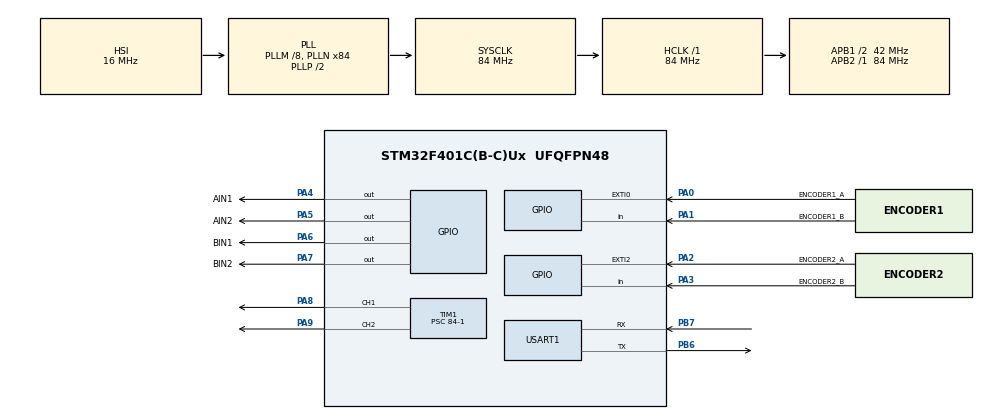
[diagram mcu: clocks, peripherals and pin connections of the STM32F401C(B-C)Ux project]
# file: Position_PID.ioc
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Mcu.Family=STM32F4
Mcu.Name=STM32F401C(B-C)Ux
Mcu.Package=UFQFPN48
NVIC.EXTI0_IRQn=true\:0\:0\:false\:false\:true\:true\:true\:true
NVIC.EXTI2_IRQn=true\:0\:0\:false\:false\:true\:true\:true\:true
NVIC.PriorityGroup=NVIC_PRIORITYGROUP_4
PA0-WKUP.GPIO_Label=ENCODER1_A
PA0-WKUP.GPIO_PuPd=GPIO_PULLDOWN
PA0-WKUP.Signal=GPXTI0
PA1.GPIO_Label=ENCODER1_B
PA1.GPIO_PuPd=GPIO_PULLDOWN
PA1.Signal=GPIO_Input
PA2.GPIO_Label=ENCODER2_A
PA2.GPIO_PuPd=GPIO_PULLDOWN
PA2.Signal=GPXTI2
PA3.GPIO_Label=ENCODER2_B
PA3.GPIO_PuPd=GPIO_PULLDOWN
PA3.Signal=GPIO_Input
PA4.GPIO_Label=AIN1
PA4.Signal=GPIO_Output
PA5.GPIO_Label=AIN2
PA5.Signal=GPIO_Output
PA6.GPIO_Label=BIN1
PA6.Signal=GPIO_Output
PA7.GPIO_Label=BIN2
PA7.Signal=GPIO_Output
PA8.Signal=S_TIM1_CH1
PA9.Signal=S_TIM1_CH2
PB6.Mode=Asynchronous
PB6.Signal=USART1_TX
PB7.Mode=Asynchronous
PB7.Signal=USART1_RX
ProjectManager.HeapSize=0x200
ProjectManager.StackSize=0x400
ProjectManager.TargetToolchain=STM32CubeIDE
RCC.48MHZClocksFreq_Value=42000000
RCC.AHBFreq_Value=84000000
RCC.APB1CLKDivider=RCC_HCLK_DIV2
RCC.APB1Freq_Value=42000000
RCC.APB1TimFreq_Value=84000000
RCC.APB2Freq_Value=84000000
RCC.APB2TimFreq_Value=84000000
RCC.CortexFreq_Value=84000000
RCC.HCLKFreq_Value=84000000
RCC.HSE_VALUE=25000000
RCC.HSI_VALUE=16000000
RCC.LSE_VALUE=32768
RCC.PLLM=8
RCC.PLLN=84
RCC.SYSCLKFreq_VALUE=84000000
RCC.SYSCLKSource=RCC_SYSCLKSOURCE_PLLCLK
RCC.VCOOutputFreq_Value=168000000
SH.S_TIM1_CH1.0=TIM1_CH1,PWM Generation1 CH1
SH.S_TIM1_CH2.0=TIM1_CH2,PWM Generation2 CH2
TIM1.AutoReloadPreload=TIM_AUTORELOAD_PRELOAD_ENABLE
TIM1.Channel-PWM\ Generation1\ CH1=TIM_CHANNEL_1
TIM1.Channel-PWM\ Generation2\ CH2=TIM_CHANNEL_2
TIM1.Period=1000
TIM1.Prescaler=84-1
USART1.VirtualMode=VM_ASYNC
VP_TIM1_VS_ClockSourceINT.Mode=Internal
board=custom

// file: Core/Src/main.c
/* USER CODE BEGIN Header */
/**
  ******************************************************************************
  * @file           : main.c
  * @brief          : Main program body
  ******************************************************************************
  * @attention
  *
  * Copyright (c) 2023 STMicroelectronics.
  * All rights reserved.
  *
  * This software is licensed under terms that can be found in the LICENSE file
  * in the root directory of this software component.
  * If no LICENSE file comes with this software, it is provided AS-IS.
  *
  ******************************************************************************
  */
/* USER CODE END Header */
#include "main.h"
#include "tim.h"
#include "usart.h"
#include "gpio.h"

/* USER CODE BEGIN PD */
#define POS_R_DIR   1
#define NEG_R_DIR   0
#define POS_L_DIR   1
#define NEG_L_DIR   0

#define MAX_PWM     1000
#define MOTOR_MAX_VEL   333
#define SAMPLING_TIME_MIN    (1000 * 60)

#define PULSE_PER_CIRCLE  13000

#define R_MOTOR_NOR SET
#define R_MOTOR_REV !R_MOTOR_NOR

#define L_MOTOR_NOR RESET
#define L_MOTOR_REV !L_MOTOR_NOR

#define DEBUG
#define TAG "main"

#ifdef DEBUG
#define printf_t(format, ...) printf( format "\r\n", ##__VA_ARGS__)
#define info(format, ...) printf("[\t"TAG"]info:" format "\r\n", ##__VA_ARGS__)
#define debug(format, ...) printf("[\t"TAG"]debug:" format "\r\n", ##__VA_ARGS__)
#define error(format, ...) printf("[\t"TAG"]error:" format "\r\n",##__VA_ARGS__)
#else
#define printf(format, ...)
#define info(format, ...)
#define debug(format, ...)
#define error(format, ...)
#endif
/* USER CODE END PD */

/* USER CODE BEGIN PV */
int64_t RMotorCount, LMotorCount;
double RVelocity, LVelocity;                         //Cycle per minute
double RVelBias, LVelBias;
double RTargetPos = 0.0, LTargetPos = 0.0;
double RTargetVel = 0.0, LTargetVel = 0.0;
int RDir = POS_R_DIR, LDir = POS_L_DIR;
GPIO_PinState RIN1 = RESET, RIN2 = SET, LIN1 = RESET, LIN2 = SET;
double posKp = 30.0, posKi = 0.9, posKd = 180.0;
int posKiThreshold = 300;
int biasThreshold = 15;                                     //New algorithm designed by me
double velKp=80.0, velKi=200.0;
double RPWM = 0, LPWM = 0;
/* USER CODE END PV */

void SystemClock_Config(void);

/* USER CODE BEGIN 0 */
/**
    * @breif    Start to computing the speeds of motors.
    * @note     None
    * @param    None
    * @retval   None
    */
void MotorSpeedCompute_Start() {
    HAL_TIM_Base_Start_IT(&htim1);
}

/**
    * @breif    Start to count the encoder.
    * @note     None
    * @param    None
    * @retval   None
    */
void Encoder_Start() {

}

/**
    * @breif    Start to generate PWM signals to control motors.
    * @note     None
    * @param    None
    * @retval   None
    */
void MotorPWM_Start() {
    HAL_TIM_PWM_Start(&htim1, TIM_CHANNEL_1);
    HAL_TIM_PWM_Start(&htim1, TIM_CHANNEL_2);
}

/**
    * @breif    Renew the gpio output of AIN1, AIN2, BIN1, BIN2.
    * @note     None
    * @param    None
    * @retval   None
    */
void Dirction_Renew(){
    static int lastRDir, lastLDir;
    if(RDir != lastRDir){
        HAL_GPIO_WritePin(AIN1_GPIO_Port, AIN1_Pin, !HAL_GPIO_ReadPin(AIN1_GPIO_Port, AIN1_Pin));
        HAL_GPIO_WritePin(AIN2_GPIO_Port, AIN2_Pin, !HAL_GPIO_ReadPin(AIN2_GPIO_Port, AIN2_Pin));
    }
    if(LDir != lastLDir){
        HAL_GPIO_WritePin(BIN1_GPIO_Port, BIN1_Pin, !HAL_GPIO_ReadPin(BIN1_GPIO_Port, BIN1_Pin));
        HAL_GPIO_WritePin(BIN2_GPIO_Port, BIN2_Pin, !HAL_GPIO_ReadPin(BIN2_GPIO_Port, BIN2_Pin));
    }
    lastRDir = RDir;
    lastLDir = LDir;
}

/**
    * @breif    Use incremental PI algorithm to renew the PWM signals.
    * @note     None
    * @param    None
    * @retval   None
    */
void IncrementalPI(void) {
    static double RVelBias, LVelBias, LastRVelBias, LastLVelBias;
    RVelBias = RVelocity - RTargetVel;                //compute current bias
    LVelBias = LVelocity - LTargetVel;                //compute current bias
    RPWM -= velKp * (RVelBias - LastRVelBias) / 100 + velKi * RVelBias / 1000;        //incremental PI controller
    LPWM -= velKp * (LVelBias - LastLVelBias) / 100 + velKi * LVelBias / 1000;        //incremental PI controller
    if (RPWM < 0) { RPWM = 0.0; }
    if (LPWM < 0) { LPWM = 0.0; }
    if (RPWM - 1000.0 > 0) { RPWM = 1000.0; }
    if (LPWM - 1000.0 > 0) { LPWM = 1000.0; }
    LastRVelBias = RVelBias;                    //save last velocity bias
    LastLVelBias = LVelBias;                    //save last velocity bias
    __HAL_TIM_SET_COMPARE(&htim1, TIM_CHANNEL_1, RPWM);
    __HAL_TIM_SET_COMPARE(&htim1, TIM_CHANNEL_2, LPWM);                                 //Renew PWN
}

/**
    * @breif    Compute the absolute value of x.
    * @note     None
    * @param    x
    * @retval   None
    */
int AbsOf(int x){
    if(x < 0)   x = -x;

    return x;
}

/**
    * @breif    Use position PID algorithm to renew PWM signals.
    * @note     None
    * @param    None
    * @retval   None
    */
void Position_PID(void) {
    static int lastRPosBias, lastLPosBias, LPosBiasIntergral, RPosBiasIntergral;
    int RPosBias = RTargetPos - RMotorCount;                    //compute posBias
    int LPosBias = LTargetPos - LMotorCount;                    //compute posBias
    int biasOfRPosBias = AbsOf(RPosBias - lastRPosBias), biasOfLPosBias = AbsOf(LPosBias - lastLPosBias);
    if (biasOfRPosBias <= biasThreshold)                                     //New algorithm designed by me
        RPosBiasIntergral += RPosBias;                        //compute intergral of posBias
    if (LPosBias <= biasThreshold)                                     //New algorithm designed by me
        LPosBiasIntergral += LPosBias;                        //compute intergral of posBias
    RPWM = (posKp * RPosBias / 100.0 + posKi / 100 * RPosBiasIntergral + posKd / 100 * (RPosBias - lastRPosBias)) / MAX_PWM * MOTOR_MAX_VEL;
    LPWM = (posKp * LPosBias / 100.0 + posKi / 100 * LPosBiasIntergral + posKd / 100 * (LPosBias - lastLPosBias)) / MAX_PWM * MOTOR_MAX_VEL;
    lastRPosBias = RPosBias;                            //save posBias
    lastLPosBias = LPosBias;                            //save posBias
    if (RPWM < 0) {
        RDir = NEG_R_DIR;
        HAL_GPIO_WritePin(AIN1_GPIO_Port, AIN1_Pin, LIN1);
        HAL_GPIO_WritePin(AIN2_GPIO_Port, AIN2_Pin, LIN2);
        RPWM = -RPWM;
    }
    else{
        RDir = POS_L_DIR;
        HAL_GPIO_WritePin(AIN1_GPIO_Port, AIN1_Pin, LIN2);
        HAL_GPIO_WritePin(AIN2_GPIO_Port, AIN2_Pin, LIN1);
    }
    if (LPWM < 0) {
        LDir = NEG_L_DIR;
        HAL_GPIO_WritePin(BIN1_GPIO_Port, BIN1_Pin, LIN1);
        HAL_GPIO_WritePin(BIN2_GPIO_Port, BIN2_Pin, LIN2);
        LPWM = -LPWM;
    }
    else{
        LDir = POS_L_DIR;
        HAL_GPIO_WritePin(BIN1_GPIO_Port, BIN1_Pin, LIN2);
        HAL_GPIO_WritePin(BIN2_GPIO_Port, BIN2_Pin, LIN1);
    }
//    Dirction_Renew();
    __HAL_TIM_SET_COMPARE(&htim1, TIM_CHANNEL_1, RPWM);
    __HAL_TIM_SET_COMPARE(&htim1, TIM_CHANNEL_2, LPWM);                                 //Renew PWN
//    IncrementalPI();
}

/* USER CODE END 0 */

int main(void) {
    /* USER CODE BEGIN 1 */
    int cont = 0;
    /* USER CODE END 1 */

    /* MCU Configuration--------------------------------------------------------*/

    /* Reset of all peripherals, Initializes the Flash interface and the Systick. */
    HAL_Init();

    /* Configure the system clock */
    SystemClock_Config();

    /* Initialize all configured peripherals */
    MX_GPIO_Init();
    MX_TIM1_Init();
    MX_USART1_UART_Init();
    /* USER CODE BEGIN 2 */
    Encoder_Start();
    MotorPWM_Start();
    MotorSpeedCompute_Start();
    RTargetPos = 80;
    /* USER CODE END 2 */

    /* Infinite loop */
    while (1) {
        cont++;
        cont %= 1000;
        if (cont == 0) RTargetPos = 20000;
        if (cont == 500) RTargetPos = -10000;
        Position_PID();
        printf("%lld, %lf, %lf, %lf, %d, %d\r\n", RMotorCount, RTargetPos, RPWM, RVelocity, RDir, cont);
    }
}

void SystemClock_Config(void) {
    RCC_OscInitTypeDef RCC_OscInitStruct = {0};
    RCC_ClkInitTypeDef RCC_ClkInitStruct = {0};

    /** Configure the main internal regulator output voltage
    */
    __HAL_RCC_PWR_CLK_ENABLE();
    __HAL_PWR_VOLTAGESCALING_CONFIG(PWR_REGULATOR_VOLTAGE_SCALE2);

    /** Initializes the RCC Oscillators according to the specified parameters
    * in the RCC_OscInitTypeDef structure.
    */
    RCC_OscInitStruct.OscillatorType = RCC_OSCILLATORTYPE_HSI;
    RCC_OscInitStruct.HSIState = RCC_HSI_ON;
    RCC_OscInitStruct.HSICalibrationValue = RCC_HSICALIBRATION_DEFAULT;
    RCC_OscInitStruct.PLL.PLLState = RCC_PLL_ON;
    RCC_OscInitStruct.PLL.PLLSource = RCC_PLLSOURCE_HSI;
    RCC_OscInitStruct.PLL.PLLM = 8;
    RCC_OscInitStruct.PLL.PLLN = 84;
    RCC_OscInitStruct.PLL.PLLP = RCC_PLLP_DIV2;
    RCC_OscInitStruct.PLL.PLLQ = 4;
    if (HAL_RCC_OscConfig(&RCC_OscInitStruct) != HAL_OK) {
        Error_Handler();
    }

    /** Initializes the CPU, AHB and APB buses clocks
    */
    RCC_ClkInitStruct.ClockType = RCC_CLOCKTYPE_HCLK | RCC_CLOCKTYPE_SYSCLK
                                  | RCC_CLOCKTYPE_PCLK1 | RCC_CLOCKTYPE_PCLK2;
    RCC_ClkInitStruct.SYSCLKSource = RCC_SYSCLKSOURCE_PLLCLK;
    RCC_ClkInitStruct.AHBCLKDivider = RCC_SYSCLK_DIV1;
    RCC_ClkInitStruct.APB1CLKDivider = RCC_HCLK_DIV2;
    RCC_ClkInitStruct.APB2CLKDivider = RCC_HCLK_DIV1;

    if (HAL_RCC_ClockConfig(&RCC_ClkInitStruct, FLASH_LATENCY_2) != HAL_OK) {
        Error_Handler();
    }
}

/* USER CODE BEGIN 4 */
void HAL_TIM_PeriodElapsedCallback(TIM_HandleTypeDef *htim) {
    if (htim->Instance == htim1.Instance) {                                         //Computing Motor's velocity
        static int64_t lastRMotorCount, lastLMotorCount;
        int16_t differenceOfRMotorCount = RMotorCount - lastRMotorCount, differenceOfLMotorCount =
                LMotorCount - lastLMotorCount;
        RVelocity = (double) differenceOfRMotorCount * SAMPLING_TIME_MIN / PULSE_PER_CIRCLE;
        LVelocity = (double) differenceOfLMotorCount * SAMPLING_TIME_MIN / PULSE_PER_CIRCLE;
        lastRMotorCount = RMotorCount;
        lastLMotorCount = LMotorCount;                                              //Save Motor count
    }
}

void HAL_GPIO_EXTI_Callback(uint16_t GPIO_Pin) {
    if (GPIO_Pin == ENCODER1_A_Pin) {                                                //Encoder count
        if (HAL_GPIO_ReadPin(ENCODER1_B_GPIO_Port, ENCODER1_B_Pin) == R_MOTOR_NOR) RMotorCount++;
        else RMotorCount--;
    } else if (GPIO_Pin == ENCODER2_A_Pin) {
        if (HAL_GPIO_ReadPin(ENCODER2_B_GPIO_Port, ENCODER2_B_Pin) *
            HAL_GPIO_ReadPin(ENCODER2_A_GPIO_Port, ENCODER2_A_Pin) == L_MOTOR_NOR)
            LMotorCount++;
        else LMotorCount--;
    }
}

/* USER CODE END 4 */

void Error_Handler(void) {
    __disable_irq();
    while (1) {
    }
}
